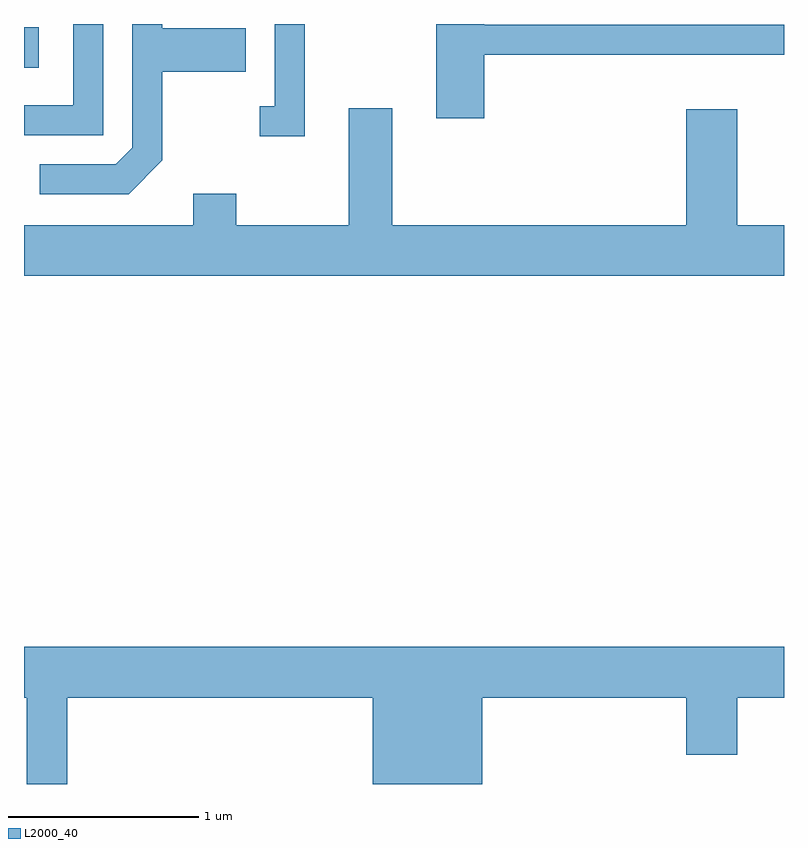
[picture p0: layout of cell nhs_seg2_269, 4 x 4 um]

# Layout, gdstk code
import gdstk
lib = gdstk.Library(unit=1e-6, precision=1e-09)
def R(c, l, rs):  # rectangles x0, y0, x1, y1
    for r in rs: c.add(gdstk.rectangle(r[:2], r[2:], *l))
def P(c, l, *ps):  # polygons
    for p in ps: c.add(gdstk.Polygon(p, *l))
L2000_40 = (2000, 40)

nhs_seg2_269 = lib.new_cell('nhs_seg2_269')
R(nhs_seg2_269, L2000_40, [(191.611,1111.571,191.689,1111.784)])
P(nhs_seg2_269, L2000_40, [(192.029,1111.802),(191.871,1111.802),(191.871,1111.374),(191.611,1111.374),(191.611,1111.216),(192.029,1111.216)],
  [(192.339,1111.084),(192.339,1111.551),(192.779,1111.551),(192.779,1111.779),(192.339,1111.779),(192.339,1111.802),(192.181,1111.802),(192.181,1111.152),(192.094,1111.064),(191.693,1111.064),(191.693,1110.906),(192.162,1110.906)],
  [(193.089,1111.802),(192.931,1111.802),(192.931,1111.369),(192.853,1111.369),(192.853,1111.211),(193.089,1111.211)],
  [(194.034,1111.641),(195.611,1111.641),(195.611,1111.799),(194.034,1111.799),(194.034,1111.802),(193.781,1111.802),(193.781,1111.306),(194.034,1111.306)],
  [(195.611,1110.744),(195.364,1110.744),(195.364,1111.354),(195.096,1111.354),(195.096,1110.744),(193.549,1110.744),(193.549,1111.359),(193.321,1111.359),(193.321,1110.744),(192.729,1110.744),(192.729,1110.909),(192.501,1110.909),(192.501,1110.744),(191.611,1110.744),(191.611,1110.476),(195.611,1110.476)],
  [(191.839,1108.256),(193.446,1108.256),(193.446,1107.802),(194.024,1107.802),(194.024,1108.256),(195.096,1108.256),(195.096,1107.956),(195.364,1107.956),(195.364,1108.256),(195.611,1108.256),(195.611,1108.524),(191.611,1108.524),(191.611,1108.256),(191.626,1108.256),(191.626,1107.802),(191.839,1107.802)])

lib.write_gds('nhs_seg2_269.gds')
